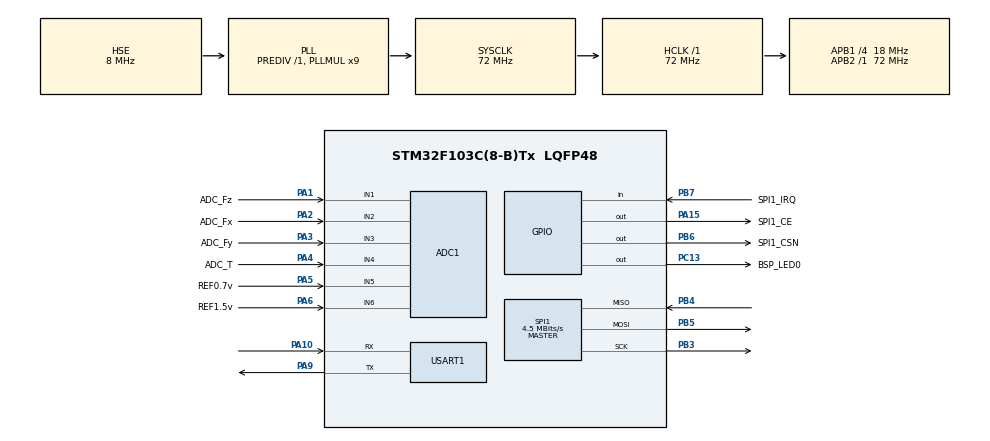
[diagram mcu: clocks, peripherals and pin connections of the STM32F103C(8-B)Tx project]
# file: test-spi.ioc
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ADC1.Channel-0\#ChannelRegularConversion=ADC_CHANNEL_1
ADC1.Channel-1\#ChannelRegularConversion=ADC_CHANNEL_2
ADC1.Channel-2\#ChannelRegularConversion=ADC_CHANNEL_3
ADC1.Channel-3\#ChannelRegularConversion=ADC_CHANNEL_4
ADC1.Channel-4\#ChannelRegularConversion=ADC_CHANNEL_5
ADC1.Channel-5\#ChannelRegularConversion=ADC_CHANNEL_6
ADC1.ExternalTrigConv=ADC_EXTERNALTRIGCONV_T3_TRGO
ADC1.NbrOfConversion=6
ADC1.NbrOfConversionFlag=1
ADC1.Rank-0\#ChannelRegularConversion=1
ADC1.Rank-1\#ChannelRegularConversion=2
ADC1.Rank-2\#ChannelRegularConversion=3
ADC1.Rank-3\#ChannelRegularConversion=4
ADC1.Rank-4\#ChannelRegularConversion=5
ADC1.Rank-5\#ChannelRegularConversion=6
ADC1.SamplingTime-0\#ChannelRegularConversion=ADC_SAMPLETIME_71CYCLES_5
ADC1.SamplingTime-1\#ChannelRegularConversion=ADC_SAMPLETIME_71CYCLES_5
ADC1.SamplingTime-2\#ChannelRegularConversion=ADC_SAMPLETIME_71CYCLES_5
ADC1.SamplingTime-3\#ChannelRegularConversion=ADC_SAMPLETIME_71CYCLES_5
ADC1.SamplingTime-4\#ChannelRegularConversion=ADC_SAMPLETIME_71CYCLES_5
ADC1.SamplingTime-5\#ChannelRegularConversion=ADC_SAMPLETIME_71CYCLES_5
ADC1.master=1
Dma.ADC1.0.Direction=DMA_PERIPH_TO_MEMORY
Dma.ADC1.0.Instance=DMA1_Channel1
Dma.ADC1.0.MemDataAlignment=DMA_MDATAALIGN_HALFWORD
Dma.ADC1.0.MemInc=DMA_MINC_ENABLE
Dma.ADC1.0.Mode=DMA_CIRCULAR
Dma.ADC1.0.PeriphDataAlignment=DMA_PDATAALIGN_HALFWORD
Dma.ADC1.0.PeriphInc=DMA_PINC_DISABLE
Dma.ADC1.0.Priority=DMA_PRIORITY_LOW
Dma.Request0=ADC1
Mcu.Family=STM32F1
Mcu.Name=STM32F103C(8-B)Tx
Mcu.Package=LQFP48
NVIC.DMA1_Channel1_IRQn=true\:0\:15\:true\:false\:true\:true\:true
NVIC.PriorityGroup=NVIC_PRIORITYGROUP_0
NVIC.TIM3_IRQn=true\:0\:15\:false\:false\:true\:true\:true
PA1.GPIO_Label=ADC_Fz
PA1.Signal=ADCx_IN1
PA10.Mode=Asynchronous
PA10.Signal=USART1_RX
PA13.Mode=Serial_Wire
PA13.Signal=SYS_JTMS-SWDIO
PA14.Mode=Serial_Wire
PA14.Signal=SYS_JTCK-SWCLK
PA15.GPIO_Label=SPI1_CE
PA15.GPIO_ModeDefaultOutputPP=GPIO_MODE_OUTPUT_PP
PA15.GPIO_PuPd=GPIO_PULLUP
PA15.GPIO_Speed=GPIO_SPEED_FREQ_HIGH
PA15.Signal=GPIO_Output
PA2.GPIO_Label=ADC_Fx
PA2.Signal=ADCx_IN2
PA3.GPIO_Label=ADC_Fy
PA3.Signal=ADCx_IN3
PA4.GPIO_Label=ADC_T
PA4.Signal=ADCx_IN4
PA5.GPIO_Label=REF0.7v
PA5.Signal=ADCx_IN5
PA6.GPIO_Label=REF1.5v
PA6.Signal=ADCx_IN6
PA9.Mode=Asynchronous
PA9.Signal=USART1_TX
PB3.Mode=Full_Duplex_Master
PB3.Signal=SPI1_SCK
PB4.Mode=Full_Duplex_Master
PB4.Signal=SPI1_MISO
PB5.Mode=Full_Duplex_Master
PB5.Signal=SPI1_MOSI
PB6.GPIO_Label=SPI1_CSN
PB6.GPIO_PuPd=GPIO_PULLUP
PB6.GPIO_Speed=GPIO_SPEED_FREQ_HIGH
PB6.Signal=GPIO_Output
PB7.GPIO_Label=SPI1_IRQ
PB7.GPIO_PuPd=GPIO_PULLUP
PB7.Signal=GPIO_Input
PC13-TAMPER-RTC.GPIO_Label=BSP_LED0
PC13-TAMPER-RTC.GPIO_PuPd=GPIO_PULLUP
PC13-TAMPER-RTC.PinState=GPIO_PIN_SET
PC13-TAMPER-RTC.Signal=GPIO_Output
PD0-OSC_IN.Mode=HSE-External-Oscillator
PD0-OSC_IN.Signal=RCC_OSC_IN
PD1-OSC_OUT.Mode=HSE-External-Oscillator
PD1-OSC_OUT.Signal=RCC_OSC_OUT
ProjectManager.HeapSize=0x200
ProjectManager.StackSize=0x400
ProjectManager.TargetToolchain=MDK-ARM V5.27
RCC.ADCPresc=RCC_ADCPCLK2_DIV8
RCC.AHBFreq_Value=72000000
RCC.APB1CLKDivider=RCC_HCLK_DIV4
RCC.APB1Freq_Value=18000000
RCC.APB1TimFreq_Value=36000000
RCC.APB2Freq_Value=72000000
RCC.APB2TimFreq_Value=72000000
RCC.HCLKFreq_Value=72000000
RCC.PLLMUL=RCC_PLL_MUL9
RCC.PLLSourceVirtual=RCC_PLLSOURCE_HSE
RCC.SYSCLKFreq_VALUE=72000000
RCC.SYSCLKSource=RCC_SYSCLKSOURCE_PLLCLK
RCC.USBFreq_Value=72000000
SH.ADCx_IN1.0=ADC1_IN1,IN1
SH.ADCx_IN2.0=ADC1_IN2,IN2
SH.ADCx_IN3.0=ADC1_IN3,IN3
SH.ADCx_IN4.0=ADC1_IN4,IN4
SH.ADCx_IN5.0=ADC1_IN5,IN5
SH.ADCx_IN6.0=ADC1_IN6,IN6
SPI1.BaudRatePrescaler=SPI_BAUDRATEPRESCALER_16
SPI1.CalculateBaudRate=4.5 MBits/s
SPI1.Direction=SPI_DIRECTION_2LINES
SPI1.Mode=SPI_MODE_MASTER
SPI1.VirtualType=VM_MASTER
TIM3.Period=100-1
TIM3.Prescaler=360-1
TIM3.TIM_MasterOutputTrigger=TIM_TRGO_UPDATE
USART1.VirtualMode=VM_ASYNC
VP_TIM3_VS_ClockSourceINT.Mode=Internal
board=custom

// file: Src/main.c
/* USER CODE BEGIN Header */
/**
  ******************************************************************************
  * @file           : main.c
  * @brief          : Main program body
  ******************************************************************************
  * @attention
  *
  * <h2><center>&copy; Copyright (c) 2020 STMicroelectronics.
  * All rights reserved.</center></h2>
  *
  * This software component is licensed by ST under BSD 3-Clause license,
  * the "License"; You may not use this file except in compliance with the
  * License. You may obtain a copy of the License at:
  *                        opensource.org/licenses/BSD-3-Clause
  *
  ******************************************************************************
  */
/* USER CODE END Header */
#include "main.h"
#include "adc.h"
#include "dma.h"
#include "spi.h"
#include "tim.h"
#include "usart.h"
#include "gpio.h"

/* USER CODE BEGIN Includes */
//用户头文件
#include "sys.h"
#include "delay.h"
#include "24l01.h"
#include "stdio.h"
/* USER CODE END Includes */

/* USER CODE BEGIN PTD */
//私有类型定义

/* USER CODE END PTD */

/* USER CODE BEGIN PD */
//私有定义

#define a ox1;
/* USER CODE END PD */

/* USER CODE BEGIN PM */
//私有宏

/* USER CODE END PM */

/* USER CODE BEGIN PV */
//私有变量
u8 tmp_buf[20]= {0x00,0x01,0x02,0x03,0x04,0x05,0x06,0x07,0x08,0x09,0x10,0x11,0x12,0x13,0x14,0x15,0x16,0x17,0x18,0x19};
u8 rv_data[32];
u8 mode=0;//模式选择 0发送模式 1接收模式
u8 status_tx=0;
u8 status_rx=0;
//uint16_t 表示数据范围则是0~65535。
uint16_t ADC_Value[120];
uint16_t adc_aver[10];
uint8_t  send_val[10];
uint8_t  hight_part[10];
uint8_t  lower_part[10];
uint16_t sumref7=0,sumref15=0;
uint16_t count1=0,count2=0;

unsigned char Send[20] ={19, 'f', 'a','a','a','a','b','b','b','b','c','c','c','c','d','d','d','d','e',' '};
unsigned char SendFail[9] ={0x08,'s','e','n','d','f','a', '\r', ' '};

uint32_t count_send_fail=0;
u8 statusCheck=0;
/* USER CODE END PV */

void SystemClock_Config(void);
/* USER CODE BEGIN PFP */
//私有函数原型

/* USER CODE END PFP */

int main(void)
{

  /* MCU Configuration--------------------------------------------------------*/

  /* Reset of all peripherals, Initializes the Flash interface and the Systick. */
	HAL_Init();

  /* Configure the system clock */
	SystemClock_Config();

  /* USER CODE BEGIN SysInit */

    uint8_t temp[1]= {0x11};
    HAL_UART_Transmit(&huart1,temp,1,2);
	/* USER CODE END SysInit */

	/* Initialize all configured peripherals */
	MX_GPIO_Init();
	MX_DMA_Init();
	MX_SPI1_Init();
	MX_USART1_UART_Init();
	MX_ADC1_Init();
	MX_TIM3_Init();
	/* USER CODE BEGIN 2 */
	//初始化nrf
    NRF24L01_Init();  //初始化NRF24L01
    if(NRF24L01_Check())//函数返回值为1说明检测24L01错误	！！！
    {
        printf("\n\r nrf测试失败 nrf未连接\n\r");
    }

	//初始化adc相关
    HAL_ADCEx_Calibration_Start(&hadc1);//校准
    HAL_Delay(10);
    if(HAL_TIM_Base_Start_IT(&htim3)!=HAL_OK)
		printf("\r\n******** 定时器打开失败 ********\r\n\r\n");
    //开启dma传输，传输60个值 每10个取平均值，共6个有效数据
	HAL_ADC_Start_DMA(&hadc1, (uint32_t*)&ADC_Value, 120);

    if(NRF24L01_Check()==0)
    {
        printf("\n\r nrf测试成功 nrf连接\n\r");
		SPI1_SetSpeed(SPI_BAUDRATEPRESCALER_16);

		//发送模式
        if(mode == 0)
        {
            printf("\n\r 发送模式\n\r");
            NRF24L01_TX_Mode();//将射频模块配置为发射模式
        }
    }

    while (1)
    {

	}
	/* USER CODE END 3 */
}

void SystemClock_Config(void)
{
  RCC_OscInitTypeDef RCC_OscInitStruct = {0};
  RCC_ClkInitTypeDef RCC_ClkInitStruct = {0};
  RCC_PeriphCLKInitTypeDef PeriphClkInit = {0};

  /** Initializes the RCC Oscillators according to the specified parameters
  * in the RCC_OscInitTypeDef structure.
  */
  RCC_OscInitStruct.OscillatorType = RCC_OSCILLATORTYPE_HSE;
  RCC_OscInitStruct.HSEState = RCC_HSE_ON;
  RCC_OscInitStruct.HSEPredivValue = RCC_HSE_PREDIV_DIV1;
  RCC_OscInitStruct.HSIState = RCC_HSI_ON;
  RCC_OscInitStruct.PLL.PLLState = RCC_PLL_ON;
  RCC_OscInitStruct.PLL.PLLSource = RCC_PLLSOURCE_HSE;
  RCC_OscInitStruct.PLL.PLLMUL = RCC_PLL_MUL9;
  if (HAL_RCC_OscConfig(&RCC_OscInitStruct) != HAL_OK)
  {
    Error_Handler();
  }
  /** Initializes the CPU, AHB and APB buses clocks
  */
  RCC_ClkInitStruct.ClockType = RCC_CLOCKTYPE_HCLK|RCC_CLOCKTYPE_SYSCLK
                              |RCC_CLOCKTYPE_PCLK1|RCC_CLOCKTYPE_PCLK2;
  RCC_ClkInitStruct.SYSCLKSource = RCC_SYSCLKSOURCE_PLLCLK;
  RCC_ClkInitStruct.AHBCLKDivider = RCC_SYSCLK_DIV1;
  RCC_ClkInitStruct.APB1CLKDivider = RCC_HCLK_DIV4;
  RCC_ClkInitStruct.APB2CLKDivider = RCC_HCLK_DIV1;

  if (HAL_RCC_ClockConfig(&RCC_ClkInitStruct, FLASH_LATENCY_2) != HAL_OK)
  {
    Error_Handler();
  }
  PeriphClkInit.PeriphClockSelection = RCC_PERIPHCLK_ADC;
  PeriphClkInit.AdcClockSelection = RCC_ADCPCLK2_DIV8;
  if (HAL_RCCEx_PeriphCLKConfig(&PeriphClkInit) != HAL_OK)
  {
    Error_Handler();
  }
}

char digit_to_char(int digit) {
    return digit + '0';
}

void convert() {

	int offset = 2;

	for (int i = 0; i < 4; i++) {

        //uint8_t high_byte = (adc_aver[i] >> 8) & 0xFF;
        uint16_t byte = adc_aver[i];

        Send[offset + 4 * i ] = digit_to_char(byte / 1000);
        Send[offset + 4 * i + 1] = digit_to_char((byte / 100) % 10);

        Send[offset + 4 * i + 2] = digit_to_char((byte / 10) % 10);
        Send[offset + 4 * i + 3] = digit_to_char(byte % 10);

    }
}

/* USER CODE BEGIN 4 */
//DMA传输完成中断回调函数   没有开启dma中断  耗时
void HAL_ADC_ConvCpltCallback(ADC_HandleTypeDef* hadc)
{

	for(int i = 0; i < 8; i ++)
	{
		adc_aver[i] = 0;
	}

	for(int i = 0; i < 4; i ++)
	{
		adc_aver[i] = ADC_Value[i];
	}
	convert();

	status_tx=NRF24L01_TxPacket((uint8_t *)Send);

}
/**
  * @brief  Period elapsed callback in non-blocking mode
  * @param  htim TIM handle
  * @retval None
  */
//定时器全局中断回调函数
void HAL_TIM_PeriodElapsedCallback(TIM_HandleTypeDef *htim)
{

}
/* USER CODE END 4 */

void Error_Handler(void)
{
}

/************************ (C) COPYRIGHT STMicroelectronics *****END OF FILE****/
